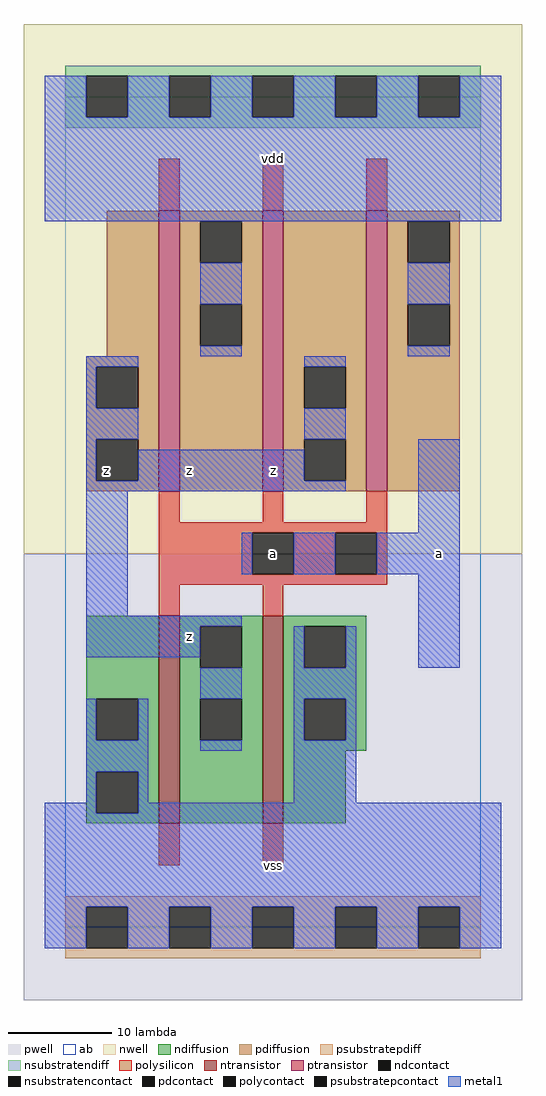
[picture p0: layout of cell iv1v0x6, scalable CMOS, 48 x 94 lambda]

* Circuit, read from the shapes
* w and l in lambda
.subckt iv1v0x6 a vdd vss z
M1 z a vss vss nfet w=20 l=2 m=2
M2 vdd a z vdd pfet w=27 l=2 m=3
.ends

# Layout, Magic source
magic
tech scmos
<< ab >>
rect 0 0 40 80
<< pwell >>
rect -4 -7 44 36
<< nwell >>
rect -4 36 44 87
<< polysilicon >>
rect 9 69 11 74
rect 19 69 21 74
rect 29 69 31 74
rect 9 39 11 42
rect 19 39 21 42
rect 29 39 31 42
rect 9 38 31 39
rect 9 34 18 38
rect 22 34 26 38
rect 30 34 31 38
rect 9 33 31 34
rect 9 30 11 33
rect 19 30 21 33
rect 9 6 11 10
rect 19 6 21 10
<< ndiffusion >>
rect 2 22 9 30
rect 2 18 3 22
rect 7 18 9 22
rect 2 15 9 18
rect 2 11 3 15
rect 7 11 9 15
rect 2 10 9 11
rect 11 29 19 30
rect 11 25 13 29
rect 17 25 19 29
rect 11 22 19 25
rect 11 18 13 22
rect 17 18 19 22
rect 11 10 19 18
rect 21 29 29 30
rect 21 25 23 29
rect 27 25 29 29
rect 21 22 29 25
rect 21 18 23 22
rect 27 18 29 22
rect 21 17 29 18
rect 21 10 27 17
<< pdiffusion >>
rect 4 55 9 69
rect 2 54 9 55
rect 2 50 3 54
rect 7 50 9 54
rect 2 47 9 50
rect 2 43 3 47
rect 7 43 9 47
rect 2 42 9 43
rect 11 68 19 69
rect 11 64 13 68
rect 17 64 19 68
rect 11 60 19 64
rect 11 56 13 60
rect 17 56 19 60
rect 11 42 19 56
rect 21 54 29 69
rect 21 50 23 54
rect 27 50 29 54
rect 21 47 29 50
rect 21 43 23 47
rect 27 43 29 47
rect 21 42 29 43
rect 31 68 38 69
rect 31 64 33 68
rect 37 64 38 68
rect 31 60 38 64
rect 31 56 33 60
rect 37 56 38 60
rect 31 42 38 56
<< metal1 >>
rect -2 78 2 82
rect 6 78 10 82
rect 14 78 18 82
rect 22 78 26 82
rect 30 78 34 82
rect 38 78 42 82
rect -2 68 42 78
rect 13 60 17 64
rect 13 55 17 56
rect 33 60 37 64
rect 33 55 37 56
rect 2 54 7 55
rect 2 50 3 54
rect 2 47 7 50
rect 2 43 3 47
rect 23 54 27 55
rect 23 47 27 50
rect 7 43 23 46
rect 2 42 27 43
rect 2 30 6 42
rect 34 38 38 47
rect 17 34 18 38
rect 22 34 26 38
rect 30 34 38 38
rect 2 29 17 30
rect 2 26 13 29
rect 13 22 17 25
rect 2 18 3 22
rect 7 18 8 22
rect 2 15 8 18
rect 13 17 17 18
rect 22 25 23 29
rect 27 25 28 29
rect 34 25 38 34
rect 22 22 28 25
rect 22 18 23 22
rect 27 18 28 22
rect 2 12 3 15
rect -2 11 3 12
rect 7 12 8 15
rect 22 12 28 18
rect 7 11 42 12
rect -2 2 42 11
rect -2 -2 2 2
rect 6 -2 10 2
rect 14 -2 18 2
rect 22 -2 26 2
rect 30 -2 34 2
rect 38 -2 42 2
<< ntransistor >>
rect 9 10 11 30
rect 19 10 21 30
<< ptransistor >>
rect 9 42 11 69
rect 19 42 21 69
rect 29 42 31 69
<< polycontact >>
rect 18 34 22 38
rect 26 34 30 38
<< ndcontact >>
rect 3 18 7 22
rect 3 11 7 15
rect 13 25 17 29
rect 13 18 17 22
rect 23 25 27 29
rect 23 18 27 22
<< pdcontact >>
rect 3 50 7 54
rect 3 43 7 47
rect 13 64 17 68
rect 13 56 17 60
rect 23 50 27 54
rect 23 43 27 47
rect 33 64 37 68
rect 33 56 37 60
<< psubstratepcontact >>
rect 2 -2 6 2
rect 10 -2 14 2
rect 18 -2 22 2
rect 26 -2 30 2
rect 34 -2 38 2
<< nsubstratencontact >>
rect 2 78 6 82
rect 10 78 14 82
rect 18 78 22 82
rect 26 78 30 82
rect 34 78 38 82
<< psubstratepdiff >>
rect 0 2 40 3
rect 0 -2 2 2
rect 6 -2 10 2
rect 14 -2 18 2
rect 22 -2 26 2
rect 30 -2 34 2
rect 38 -2 40 2
rect 0 -3 40 -2
<< nsubstratendiff >>
rect 0 82 40 83
rect 0 78 2 82
rect 6 78 10 82
rect 14 78 18 82
rect 22 78 26 82
rect 30 78 34 82
rect 38 78 40 82
rect 0 77 40 78
<< labels >>
rlabel pdcontact 4 44 4 44 6 z
rlabel metal1 12 28 12 28 6 z
rlabel metal1 12 44 12 44 6 z
rlabel metal1 20 6 20 6 6 vss
rlabel polycontact 20 36 20 36 6 a
rlabel metal1 20 44 20 44 6 z
rlabel metal1 20 74 20 74 6 vdd
rlabel metal1 36 36 36 36 6 a
<< end >>
